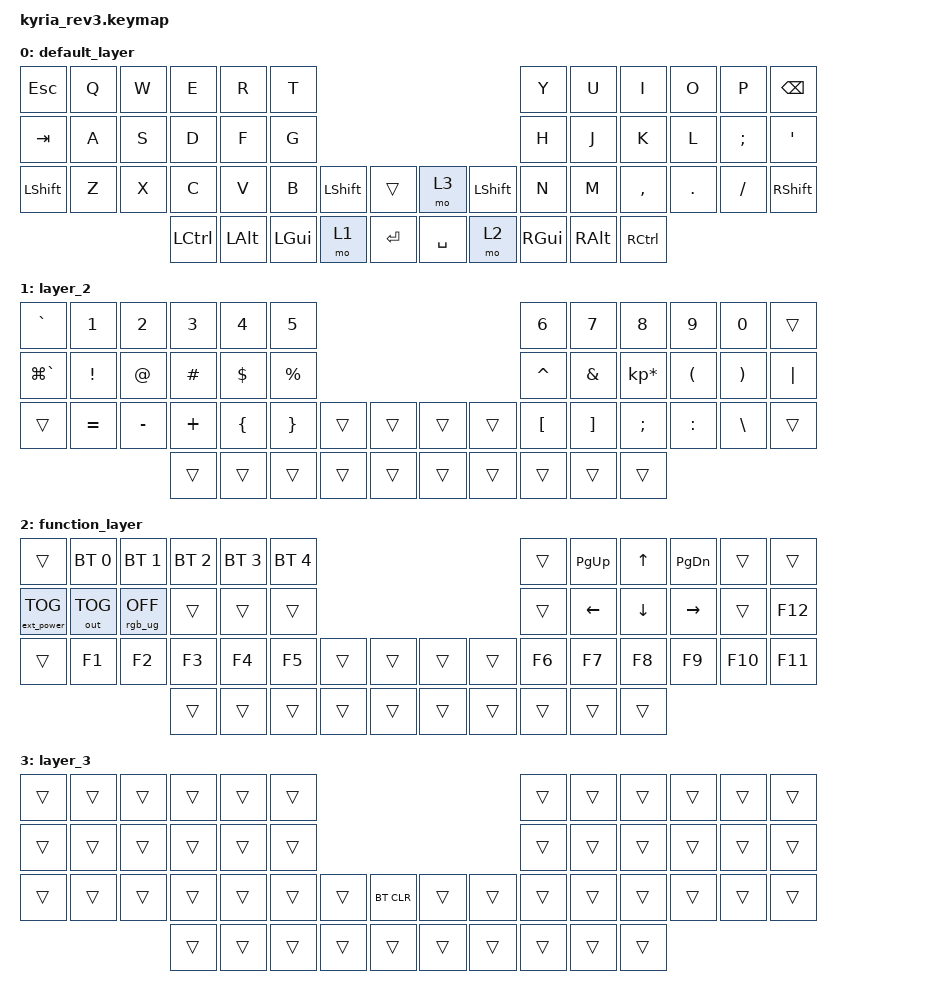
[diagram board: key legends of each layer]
/*
 * Copyright (c) 2023 The ZMK Contributors
 *
 * SPDX-License-Identifier: MIT
 */

#include <behaviors.dtsi>
#include <dt-bindings/zmk/bt.h>
#include <dt-bindings/zmk/ext_power.h>
#include <dt-bindings/zmk/keys.h>
#include <dt-bindings/zmk/outputs.h>
#include <dt-bindings/zmk/rgb.h>

/* Uncomment this block if using RGB
&led_strip {
    chain-length = <6>;
    // chain-length = <31>; // Uncomment if using both per-key and underglow LEDs
    // chain-length = <25>; // Uncomment if using only per-key LEDs.
};
 */

/ {
    keymap {
        compatible = "zmk,keymap";

        default_layer {
            // ---------------------------------------------------------------------------------------------------------------------------------
            // |  ESC  |  Q  |  W  |  E   |  R   |  T   |                                          |  Y   |  U    |  I    |  O   |   P   |   \  |
            // |  TAB  |  A  |  S  |  D   |  F   |  G   |                                          |  H   |  J    |  K    |  L   |   ;   |   '  |
            // | SHIFT |  Z  |  X  |  C   |  V   |  B   | L SHIFT | L SHIFT |  | LAYER 1 | L SHIFT |  N   |  M    |  ,    |  .   |   /   | CTRL |
            //                     | GUI  | DEL  | RET  |  SPACE  |   ESC   |  |   RET   |  SPACE  | TAB  | BSPC  | R-ALT |

            bindings = <
&kp ESC    &kp Q  &kp W  &kp E             &kp R         &kp T                                                   &kp Y          &kp U          &kp I              &kp O    &kp P     &kp BACKSPACE
&kp TAB    &kp A  &kp S  &kp D             &kp F         &kp G                                                   &kp H          &kp J          &kp K              &kp L    &kp SEMI  &kp SQT
&kp LSHFT  &kp Z  &kp X  &kp C             &kp V         &kp B         &kp LSHFT  &trans   &mo 3      &kp LSHFT  &kp N          &kp M          &kp COMMA          &kp DOT  &kp FSLH  &kp RIGHT_SHIFT
                         &kp LEFT_CONTROL  &kp LEFT_ALT  &kp LEFT_GUI  &mo 1      &kp RET  &kp SPACE  &mo 2      &kp RIGHT_GUI  &kp RIGHT_ALT  &kp RIGHT_CONTROL
            >;
        };

        layer_2 {
            bindings = <
&kp GRAVE      &kp N1     &kp N2     &kp N3    &kp N4      &kp N5                                       &kp N6     &kp N7         &kp N8           &kp N9     &kp N0         &trans
&kp LG(GRAVE)  &kp EXCL   &kp AT     &kp HASH  &kp DOLLAR  &kp PERCENT                                  &kp CARET  &kp AMPERSAND  &kp KP_MULTIPLY  &kp LPAR   &kp RPAR       &kp PIPE
&trans         &kp EQUAL  &kp MINUS  &kp PLUS  &kp LBRC    &kp RBRC     &trans  &trans  &trans  &trans  &kp LBKT   &kp RBKT       &kp SEMICOLON    &kp COLON  &kp BACKSLASH  &trans
                                     &trans    &trans      &trans       &trans  &trans  &trans  &trans  &trans     &trans         &trans
            >;
        };

        function_layer {
            // ---------------------------------------------------------------------------------------------------------------------------------
            // |       |      |BT_CLR|BTSEL0|BTSEL1|BTSEL2|                                         |      |      |      |      |      |      |
            // |       |      |      |BTSEL3|BTSEL4|      |                                         |      |      |      |      |      |      |
            // |       |      |      |      |      |      |      |      |      |      |      |      |      |      |      |      |      |      |
            //                       |      |      |      |      |      |      |      |      |      |      |      |      |

            bindings = <
&trans             &bt BT_SEL 0  &bt BT_SEL 1     &bt BT_SEL 2  &bt BT_SEL 3  &bt BT_SEL 4                                  &trans  &kp PAGE_UP     &kp UP_ARROW    &kp PAGE_DOWN    &trans   &trans
&ext_power EP_TOG  &out OUT_TOG  &rgb_ug RGB_OFF  &trans        &trans        &trans                                        &trans  &kp LEFT_ARROW  &kp DOWN_ARROW  &kp RIGHT_ARROW  &trans   &kp F12
&trans             &kp F1        &kp F2           &kp F3        &kp F4        &kp F5        &trans  &trans  &trans  &trans  &kp F6  &kp F7          &kp F8          &kp F9           &kp F10  &kp F11
                                                  &trans        &trans        &trans        &trans  &trans  &trans  &trans  &trans  &trans          &trans
            >;
        };

        layer_3 {
            bindings = <
&trans  &trans  &trans  &trans  &trans  &trans                                      &trans  &trans  &trans  &trans  &trans  &trans
&trans  &trans  &trans  &trans  &trans  &trans                                      &trans  &trans  &trans  &trans  &trans  &trans
&trans  &trans  &trans  &trans  &trans  &trans  &trans  &bt BT_CLR  &trans  &trans  &trans  &trans  &trans  &trans  &trans  &trans
                        &trans  &trans  &trans  &trans  &trans      &trans  &trans  &trans  &trans  &trans
            >;
        };
    };
};
